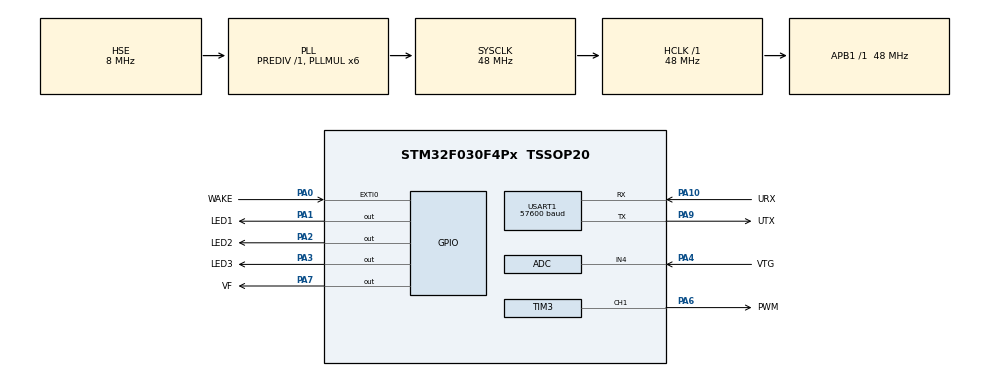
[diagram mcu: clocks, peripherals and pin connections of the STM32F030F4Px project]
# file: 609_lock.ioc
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ADC.ContinuousConvMode=ENABLE
Mcu.Family=STM32F0
Mcu.Name=STM32F030F4Px
Mcu.Package=TSSOP20
NVIC.EXTI0_1_IRQn=true\:1\:0\:true\:false\:true\:true\:true\:true
PA0.GPIO_Label=WAKE
PA0.Signal=GPXTI0
PA1.GPIO_Label=LED1
PA1.Signal=GPIO_Output
PA10.GPIO_Label=URX
PA10.Mode=Asynchronous
PA10.Signal=USART1_RX
PA13.Mode=Serial_Wire
PA13.Signal=SYS_SWDIO
PA14.Mode=Serial_Wire
PA14.Signal=SYS_SWCLK
PA2.GPIO_Label=LED2
PA2.Signal=GPIO_Output
PA3.GPIO_Label=LED3
PA3.Signal=GPIO_Output
PA4.GPIO_Label=VTG
PA4.Mode=IN4
PA4.Signal=ADC_IN4
PA6.GPIO_Label=PWM
PA6.Signal=S_TIM3_CH1
PA7.GPIO_Label=VF
PA7.Signal=GPIO_Output
PA9.GPIO_Label=UTX
PA9.Mode=Asynchronous
PA9.Signal=USART1_TX
PF0-OSC_IN.Mode=HSE-External-Oscillator
PF0-OSC_IN.Signal=RCC_OSC_IN
PF1-OSC_OUT.Mode=HSE-External-Oscillator
PF1-OSC_OUT.Signal=RCC_OSC_OUT
ProjectManager.HeapSize=0x200
ProjectManager.StackSize=0x400
ProjectManager.TargetToolchain=MDK-ARM V5.32
RCC.AHBFreq_Value=48000000
RCC.APB1Freq_Value=48000000
RCC.APB1TimFreq_Value=48000000
RCC.HCLKFreq_Value=48000000
RCC.PLLMUL=RCC_PLL_MUL6
RCC.PLLSourceVirtual=RCC_PLLSOURCE_HSE
RCC.SYSCLKFreq_VALUE=48000000
RCC.SYSCLKSource=RCC_SYSCLKSOURCE_PLLCLK
SH.S_TIM3_CH1.0=TIM3_CH1,PWM Generation1 CH1
TIM3.AutoReloadPreload=TIM_AUTORELOAD_PRELOAD_ENABLE
TIM3.Channel-PWM\ Generation1\ CH1=TIM_CHANNEL_1
TIM3.OCPolarity_1=TIM_OCPOLARITY_HIGH
TIM3.Period=199
TIM3.Prescaler=4799
USART1.AutoBaudRateEnableParam=UART_ADVFEATURE_AUTOBAUDRATE_DISABLE
USART1.BaudRate=57600
USART1.DMADisableonRxErrorParam=ADVFEATURE_DMA_ENABLEONRXERROR
USART1.OverSampling=UART_OVERSAMPLING_16
USART1.OverrunDisableParam=ADVFEATURE_OVERRUN_DISABLE
USART1.VirtualMode-Asynchronous=VM_ASYNC
VP_TIM3_VS_ClockSourceINT.Mode=Internal
board=custom

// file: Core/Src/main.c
/* USER CODE BEGIN Header */
/**
 ******************************************************************************
 * @file           : main.c
 * @brief          : Main program body
 ******************************************************************************
 * @attention
 *
 * Copyright (c) 2022 STMicroelectronics.
 * All rights reserved.
 *
 * This software is licensed under terms that can be found in the LICENSE file
 * in the root directory of this software component.
 * If no LICENSE file comes with this software, it is provided AS-IS.
 *
 ******************************************************************************
 */
/* USER CODE END Header */
#include "main.h"
#include "adc.h"
#include "tim.h"
#include "usart.h"
#include "gpio.h"

/* USER CODE BEGIN Includes */
#include "as608.h"
/* USER CODE END Includes */

void SystemClock_Config(void);

int main(void)
{

  /* MCU Configuration--------------------------------------------------------*/

  /* Reset of all peripherals, Initializes the Flash interface and the Systick. */
  HAL_Init();

  /* Configure the system clock */
  SystemClock_Config();

  /* Initialize all configured peripherals */
  MX_GPIO_Init();
  MX_ADC_Init();
  MX_TIM3_Init();
  MX_USART1_UART_Init();
  /* USER CODE BEGIN 2 */
  // HAL_TIM_Base_Start(&htim3);
  HAL_GPIO_WritePin(LED1_GPIO_Port, LED1_Pin, GPIO_PIN_SET);
  HAL_GPIO_WritePin(LED2_GPIO_Port, LED2_Pin, GPIO_PIN_SET);
  HAL_GPIO_WritePin(LED3_GPIO_Port, LED3_Pin, GPIO_PIN_SET);
  // HAL_GPIO_WritePin(LED4_GPIO_Port, LED4_Pin, GPIO_PIN_RESET);
  // HAL_GPIO_WritePin(LED5_GPIO_Port, LED5_Pin, GPIO_PIN_RESET);
  //  HAL_GPIO_WritePin(PWM_GPIO_Port, PWM_Pin, GPIO_PIN_SET);
  HAL_GPIO_WritePin(VF_GPIO_Port, VF_Pin, GPIO_PIN_RESET);

  __HAL_TIM_SET_COMPARE(&htim3, TIM_CHANNEL_1, (uint16_t)7);;
        HAL_TIM_PWM_Start(&htim3, TIM_CHANNEL_1);

				HAL_Delay(1000);

        HAL_TIM_PWM_Stop(&htim3, TIM_CHANNEL_1);

  /* USER CODE END 2 */

  /* Infinite loop */
  while (1)
  {

  }
}

void SystemClock_Config(void)
{
  RCC_OscInitTypeDef RCC_OscInitStruct = {0};
  RCC_ClkInitTypeDef RCC_ClkInitStruct = {0};
  RCC_PeriphCLKInitTypeDef PeriphClkInit = {0};

  /** Initializes the RCC Oscillators according to the specified parameters
  * in the RCC_OscInitTypeDef structure.
  */
  RCC_OscInitStruct.OscillatorType = RCC_OSCILLATORTYPE_HSI14|RCC_OSCILLATORTYPE_HSE;
  RCC_OscInitStruct.HSEState = RCC_HSE_ON;
  RCC_OscInitStruct.HSI14State = RCC_HSI14_ON;
  RCC_OscInitStruct.HSI14CalibrationValue = 16;
  RCC_OscInitStruct.PLL.PLLState = RCC_PLL_ON;
  RCC_OscInitStruct.PLL.PLLSource = RCC_PLLSOURCE_HSE;
  RCC_OscInitStruct.PLL.PLLMUL = RCC_PLL_MUL6;
  RCC_OscInitStruct.PLL.PREDIV = RCC_PREDIV_DIV1;
  if (HAL_RCC_OscConfig(&RCC_OscInitStruct) != HAL_OK)
  {
    Error_Handler();
  }

  /** Initializes the CPU, AHB and APB buses clocks
  */
  RCC_ClkInitStruct.ClockType = RCC_CLOCKTYPE_HCLK|RCC_CLOCKTYPE_SYSCLK
                              |RCC_CLOCKTYPE_PCLK1;
  RCC_ClkInitStruct.SYSCLKSource = RCC_SYSCLKSOURCE_PLLCLK;
  RCC_ClkInitStruct.AHBCLKDivider = RCC_SYSCLK_DIV1;
  RCC_ClkInitStruct.APB1CLKDivider = RCC_HCLK_DIV1;

  if (HAL_RCC_ClockConfig(&RCC_ClkInitStruct, FLASH_LATENCY_1) != HAL_OK)
  {
    Error_Handler();
  }
  PeriphClkInit.PeriphClockSelection = RCC_PERIPHCLK_USART1;
  PeriphClkInit.Usart1ClockSelection = RCC_USART1CLKSOURCE_PCLK1;
  if (HAL_RCCEx_PeriphCLKConfig(&PeriphClkInit) != HAL_OK)
  {
    Error_Handler();
  }
}

/* USER CODE BEGIN 4 */
void do_def(void)
{

  HAL_GPIO_WritePin(VF_GPIO_Port, VF_Pin, GPIO_PIN_SET);
  uint8_t approved = test_conected();
  if (approved == 0)
  {

    approved = test_conected();
    HAL_Delay(1000);
  }
  if (approved == 1)
  {
		HAL_GPIO_WritePin(VF_GPIO_Port, VF_Pin, GPIO_PIN_RESET);
    __HAL_TIM_SET_COMPARE(&htim3, TIM_CHANNEL_1, (uint16_t)23);
    HAL_TIM_PWM_Start_IT(&htim3, TIM_CHANNEL_1);
    HAL_Delay(3000);
    __HAL_TIM_SET_COMPARE(&htim3, TIM_CHANNEL_1, (uint16_t)7);
    HAL_Delay(1000);
    HAL_TIM_PWM_Stop(&htim3, TIM_CHANNEL_1);

    HAL_ADC_Start(&hadc);
    float vltg = test_battery();
    if (vltg > 2.1)
    {
			vb

			HAL_GPIO_WritePin(LED1_GPIO_Port, LED1_Pin, GPIO_PIN_RESET);
      HAL_GPIO_WritePin(LED3_GPIO_Port, LED3_Pin, GPIO_PIN_RESET);
      HAL_Delay(10000);
      HAL_GPIO_WritePin(LED1_GPIO_Port, LED1_Pin, GPIO_PIN_SET);
      HAL_GPIO_WritePin(LED3_GPIO_Port, LED3_Pin, GPIO_PIN_SET);

    }
    else if (vltg > 1.9)
    {
       HAL_GPIO_WritePin(LED3_GPIO_Port, LED3_Pin, GPIO_PIN_RESET);
      HAL_Delay(10000);
      HAL_GPIO_WritePin(LED3_GPIO_Port, LED3_Pin, GPIO_PIN_SET);
    }
    else if (vltg > 1.7)
    {

      HAL_GPIO_WritePin(LED1_GPIO_Port, LED1_Pin, GPIO_PIN_RESET);
      HAL_Delay(10000);
      HAL_GPIO_WritePin(LED1_GPIO_Port, LED1_Pin, GPIO_PIN_SET);
    }
    else
    {
			HAL_GPIO_WritePin(LED2_GPIO_Port, LED2_Pin, GPIO_PIN_RESET);
      HAL_Delay(10000);
      HAL_GPIO_WritePin(LED2_GPIO_Port, LED2_Pin, GPIO_PIN_SET);
    }

  }
	else
	{
		HAL_GPIO_WritePin(VF_GPIO_Port, VF_Pin, GPIO_PIN_RESET);
		HAL_Delay(100);
		HAL_GPIO_WritePin(VF_GPIO_Port, VF_Pin, GPIO_PIN_SET);
		HAL_Delay(100);
		HAL_GPIO_WritePin(VF_GPIO_Port, VF_Pin, GPIO_PIN_RESET);
		HAL_Delay(100);
		HAL_GPIO_WritePin(VF_GPIO_Port, VF_Pin, GPIO_PIN_SET);
		HAL_Delay(100);
		HAL_GPIO_WritePin(VF_GPIO_Port, VF_Pin, GPIO_PIN_RESET);
		HAL_Delay(100);
		HAL_GPIO_WritePin(VF_GPIO_Port, VF_Pin, GPIO_PIN_SET);
		HAL_Delay(100);
		HAL_GPIO_WritePin(VF_GPIO_Port, VF_Pin, GPIO_PIN_RESET);
		HAL_Delay(100);
	}
}
/* USER CODE END 4 */

void Error_Handler(void)
{
  __disable_irq();
  while (1)
  {
  }
}
